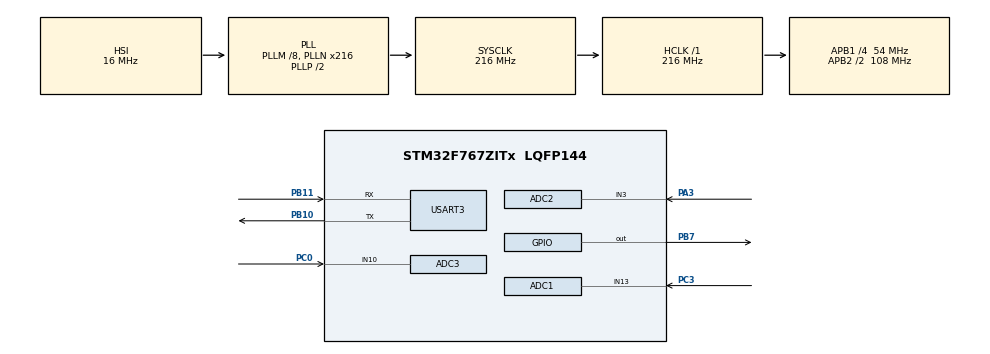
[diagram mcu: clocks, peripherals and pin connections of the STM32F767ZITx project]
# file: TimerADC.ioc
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ADC1.Channel-0\#ChannelRegularConversion=ADC_CHANNEL_13
ADC1.ContinuousConvMode=DISABLE
ADC1.NbrOfConversionFlag=1
ADC1.Rank-0\#ChannelRegularConversion=1
ADC1.SamplingTime-0\#ChannelRegularConversion=ADC_SAMPLETIME_3CYCLES
ADC1.master=1
ADC2.Channel-0\#ChannelRegularConversion=ADC_CHANNEL_3
ADC2.NbrOfConversionFlag=1
ADC2.Rank-0\#ChannelRegularConversion=1
ADC2.SamplingTime-0\#ChannelRegularConversion=ADC_SAMPLETIME_3CYCLES
ADC3.Channel-0\#ChannelRegularConversion=ADC_CHANNEL_10
ADC3.NbrOfConversionFlag=1
ADC3.Rank-0\#ChannelRegularConversion=1
ADC3.SamplingTime-0\#ChannelRegularConversion=ADC_SAMPLETIME_3CYCLES
Dma.ADC1.0.Direction=DMA_PERIPH_TO_MEMORY
Dma.ADC1.0.FIFOMode=DMA_FIFOMODE_DISABLE
Dma.ADC1.0.Instance=DMA2_Stream0
Dma.ADC1.0.MemDataAlignment=DMA_MDATAALIGN_HALFWORD
Dma.ADC1.0.MemInc=DMA_MINC_ENABLE
Dma.ADC1.0.Mode=DMA_CIRCULAR
Dma.ADC1.0.PeriphDataAlignment=DMA_PDATAALIGN_HALFWORD
Dma.ADC1.0.PeriphInc=DMA_PINC_DISABLE
Dma.ADC1.0.Priority=DMA_PRIORITY_LOW
Dma.ADC2.2.Direction=DMA_PERIPH_TO_MEMORY
Dma.ADC2.2.FIFOMode=DMA_FIFOMODE_DISABLE
Dma.ADC2.2.Instance=DMA2_Stream2
Dma.ADC2.2.MemDataAlignment=DMA_MDATAALIGN_HALFWORD
Dma.ADC2.2.MemInc=DMA_MINC_ENABLE
Dma.ADC2.2.Mode=DMA_CIRCULAR
Dma.ADC2.2.PeriphDataAlignment=DMA_PDATAALIGN_HALFWORD
Dma.ADC2.2.PeriphInc=DMA_PINC_DISABLE
Dma.ADC2.2.Priority=DMA_PRIORITY_LOW
Dma.ADC3.1.Direction=DMA_PERIPH_TO_MEMORY
Dma.ADC3.1.FIFOMode=DMA_FIFOMODE_DISABLE
Dma.ADC3.1.Instance=DMA2_Stream1
Dma.ADC3.1.MemDataAlignment=DMA_MDATAALIGN_HALFWORD
Dma.ADC3.1.MemInc=DMA_MINC_ENABLE
Dma.ADC3.1.Mode=DMA_CIRCULAR
Dma.ADC3.1.PeriphDataAlignment=DMA_PDATAALIGN_HALFWORD
Dma.ADC3.1.PeriphInc=DMA_PINC_DISABLE
Dma.ADC3.1.Priority=DMA_PRIORITY_LOW
Dma.Request0=ADC1
Dma.Request1=ADC3
Dma.Request2=ADC2
Mcu.Family=STM32F7
Mcu.Name=STM32F767ZITx
Mcu.Package=LQFP144
NVIC.DMA2_Stream0_IRQn=true\:0\:0\:false\:false\:true\:false\:true
NVIC.DMA2_Stream1_IRQn=true\:0\:0\:false\:false\:true\:false\:true
NVIC.DMA2_Stream2_IRQn=true\:0\:0\:false\:false\:true\:false\:true
NVIC.PriorityGroup=NVIC_PRIORITYGROUP_4
NVIC.TIM6_DAC_IRQn=true\:0\:0\:false\:false\:true\:true\:true
PA13.Mode=Serial_Wire
PA13.Signal=SYS_JTMS-SWDIO
PA14.Mode=Serial_Wire
PA14.Signal=SYS_JTCK-SWCLK
PA3.Signal=ADCx_IN3
PB10.Mode=Asynchronous
PB10.Signal=USART3_TX
PB11.Mode=Asynchronous
PB11.Signal=USART3_RX
PB7.Signal=GPIO_Output
PC0.Signal=ADCx_IN10
PC3.Signal=ADCx_IN13
ProjectManager.HeapSize=0x200
ProjectManager.StackSize=0x400
ProjectManager.TargetToolchain=STM32CubeIDE
RCC.AHBFreq_Value=216000000
RCC.APB1CLKDivider=RCC_HCLK_DIV4
RCC.APB1Freq_Value=54000000
RCC.APB1TimFreq_Value=108000000
RCC.APB2CLKDivider=RCC_HCLK_DIV2
RCC.APB2Freq_Value=108000000
RCC.APB2TimFreq_Value=216000000
RCC.CortexFreq_Value=216000000
RCC.HCLKFreq_Value=216000000
RCC.HSE_VALUE=25000000
RCC.HSI_VALUE=16000000
RCC.LSE_VALUE=32768
RCC.PLLM=8
RCC.PLLN=216
RCC.SYSCLKFreq_VALUE=216000000
RCC.SYSCLKSource=RCC_SYSCLKSOURCE_PLLCLK
RCC.USBFreq_Value=216000000
RCC.VCOOutputFreq_Value=432000000
SH.ADCx_IN10.0=ADC3_IN10,IN10
SH.ADCx_IN13.0=ADC1_IN13,IN13
SH.ADCx_IN3.0=ADC2_IN3,IN3
TIM4.Channel-Output\ Compare3\ No\ Output=TIM_CHANNEL_3
TIM4.Prescaler=2160
TIM6.Period=1079
USART3.VirtualMode-Asynchronous=VM_ASYNC
VP_TIM4_VS_ClockSourceINT.Mode=Internal
VP_TIM4_VS_no_output3.Mode=Output Compare3 No Output
VP_TIM6_VS_ClockSourceINT.Mode=Enable_Timer
board=custom

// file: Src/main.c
/* USER CODE BEGIN Header */
/**
  ******************************************************************************
  * @file           : main.c
  * @brief          : Main program body
  ******************************************************************************
  * @attention
  *
  * <h2><center>&copy; Copyright (c) 2020 STMicroelectronics.
  * All rights reserved.</center></h2>
  *
  * This software component is licensed by ST under BSD 3-Clause license,
  * the "License"; You may not use this file except in compliance with the
  * License. You may obtain a copy of the License at:
  *                        opensource.org/licenses/BSD-3-Clause
  *
  ******************************************************************************
  */
/* USER CODE END Header */

#include "main.h"

/* USER CODE BEGIN Includes */
#define ADC_BUFFER_LEN 32768
#define true 1
#define false 0
/* USER CODE END Includes */

ADC_HandleTypeDef hadc1;
ADC_HandleTypeDef hadc2;
ADC_HandleTypeDef hadc3;
DMA_HandleTypeDef hdma_adc1;
DMA_HandleTypeDef hdma_adc2;
DMA_HandleTypeDef hdma_adc3;

TIM_HandleTypeDef htim4;
TIM_HandleTypeDef htim6;

UART_HandleTypeDef huart3;

/* USER CODE BEGIN PV */
volatile uint16_t buffer[ADC_BUFFER_LEN]; // ADC 1 channel 13
volatile uint16_t buffer2[ADC_BUFFER_LEN]; // ADC 2 channel 3
volatile uint16_t buffer3[ADC_BUFFER_LEN]; // ADC 3 channel 10
uint16_t adc_value; // ignore
int HF = 0; // used for debugging
int TC = 0; // debugging

/* USER CODE END PV */

void SystemClock_Config(void);
static void MX_GPIO_Init(void);
static void MX_DMA_Init(void);
static void MX_ADC1_Init(void);
static void MX_TIM4_Init(void);
static void MX_USART3_UART_Init(void);
static void MX_TIM6_Init(void);
static void MX_ADC2_Init(void);
static void MX_ADC3_Init(void);

int main(void)
{

  /* MCU Configuration--------------------------------------------------------*/

  /* Reset of all peripherals, Initializes the Flash interface and the Systick. */
  HAL_Init();

  /* Configure the system clock */
  SystemClock_Config();

  /* Initialize all configured peripherals */
  MX_GPIO_Init();
  MX_DMA_Init();
  MX_ADC1_Init();
  MX_TIM4_Init();
  MX_USART3_UART_Init();
  MX_TIM6_Init();
  MX_ADC2_Init();
  MX_ADC3_Init();
  /* USER CODE BEGIN 2 */

  // HAL_ADC_Start_DMA(&hadc1, (uint32_t*)&buffer[0],  ADC_BUFFER_LEN);
HAL_ADC_Start_DMA(&hadc2, (uint32_t*)&buffer2[0],  ADC_BUFFER_LEN);
 //HAL_ADC_Start_DMA(&hadc3, (uint32_t*)&buffer3[0],  ADC_BUFFER_LEN);
  HAL_TIM_Base_Start_IT(&htim6);

  /* USER CODE END 2 */

  /* Infinite loop */
  /* USER CODE BEGIN WHILE */
  while (1)
  {
/*
	  while(HF){

	  }

	  while(TC){

		  		  }

		  		  */

    /* USER CODE END WHILE */

  }
}

void SystemClock_Config(void)
{
  RCC_OscInitTypeDef RCC_OscInitStruct = {0};
  RCC_ClkInitTypeDef RCC_ClkInitStruct = {0};
  RCC_PeriphCLKInitTypeDef PeriphClkInitStruct = {0};

  /** Configure the main internal regulator output voltage
  */
  __HAL_RCC_PWR_CLK_ENABLE();
  __HAL_PWR_VOLTAGESCALING_CONFIG(PWR_REGULATOR_VOLTAGE_SCALE1);
  /** Initializes the CPU, AHB and APB busses clocks
  */
  RCC_OscInitStruct.OscillatorType = RCC_OSCILLATORTYPE_HSI;
  RCC_OscInitStruct.HSIState = RCC_HSI_ON;
  RCC_OscInitStruct.HSICalibrationValue = RCC_HSICALIBRATION_DEFAULT;
  RCC_OscInitStruct.PLL.PLLState = RCC_PLL_ON;
  RCC_OscInitStruct.PLL.PLLSource = RCC_PLLSOURCE_HSI;
  RCC_OscInitStruct.PLL.PLLM = 8;
  RCC_OscInitStruct.PLL.PLLN = 216;
  RCC_OscInitStruct.PLL.PLLP = RCC_PLLP_DIV2;
  RCC_OscInitStruct.PLL.PLLQ = 2;
  if (HAL_RCC_OscConfig(&RCC_OscInitStruct) != HAL_OK)
  {
    Error_Handler();
  }
  /** Activate the Over-Drive mode
  */
  if (HAL_PWREx_EnableOverDrive() != HAL_OK)
  {
    Error_Handler();
  }
  /** Initializes the CPU, AHB and APB busses clocks
  */
  RCC_ClkInitStruct.ClockType = RCC_CLOCKTYPE_HCLK|RCC_CLOCKTYPE_SYSCLK
                              |RCC_CLOCKTYPE_PCLK1|RCC_CLOCKTYPE_PCLK2;
  RCC_ClkInitStruct.SYSCLKSource = RCC_SYSCLKSOURCE_PLLCLK;
  RCC_ClkInitStruct.AHBCLKDivider = RCC_SYSCLK_DIV1;
  RCC_ClkInitStruct.APB1CLKDivider = RCC_HCLK_DIV4;
  RCC_ClkInitStruct.APB2CLKDivider = RCC_HCLK_DIV2;

  if (HAL_RCC_ClockConfig(&RCC_ClkInitStruct, FLASH_LATENCY_7) != HAL_OK)
  {
    Error_Handler();
  }
  PeriphClkInitStruct.PeriphClockSelection = RCC_PERIPHCLK_USART3;
  PeriphClkInitStruct.Usart3ClockSelection = RCC_USART3CLKSOURCE_PCLK1;
  if (HAL_RCCEx_PeriphCLKConfig(&PeriphClkInitStruct) != HAL_OK)
  {
    Error_Handler();
  }
}

static void MX_ADC1_Init(void)
{

  ADC_ChannelConfTypeDef sConfig = {0};

  /** Configure the global features of the ADC (Clock, Resolution, Data Alignment and number of conversion)
  */
  hadc1.Instance = ADC1;
  hadc1.Init.ClockPrescaler = ADC_CLOCK_SYNC_PCLK_DIV4;
  hadc1.Init.Resolution = ADC_RESOLUTION_12B;
  hadc1.Init.ScanConvMode = ADC_SCAN_DISABLE;
  hadc1.Init.ContinuousConvMode = ENABLE;
  hadc1.Init.DiscontinuousConvMode = DISABLE;
  hadc1.Init.ExternalTrigConvEdge = ADC_EXTERNALTRIGCONVEDGE_NONE;
  hadc1.Init.ExternalTrigConv = ADC_SOFTWARE_START;
  hadc1.Init.DataAlign = ADC_DATAALIGN_RIGHT;
  hadc1.Init.NbrOfConversion = 1;
  hadc1.Init.DMAContinuousRequests = ENABLE;
  hadc1.Init.EOCSelection = ADC_EOC_SINGLE_CONV;
  if (HAL_ADC_Init(&hadc1) != HAL_OK)
  {
    Error_Handler();
  }
  /** Configure for the selected ADC regular channel its corresponding rank in the sequencer and its sample time.
  */
  sConfig.Channel = ADC_CHANNEL_13;
  sConfig.Rank = ADC_REGULAR_RANK_1;
  sConfig.SamplingTime = ADC_SAMPLETIME_3CYCLES;
  if (HAL_ADC_ConfigChannel(&hadc1, &sConfig) != HAL_OK)
  {
    Error_Handler();
  }

}

static void MX_ADC2_Init(void)
{

  ADC_ChannelConfTypeDef sConfig = {0};

  /** Configure the global features of the ADC (Clock, Resolution, Data Alignment and number of conversion)
  */
  hadc2.Instance = ADC2;
  hadc2.Init.ClockPrescaler = ADC_CLOCK_SYNC_PCLK_DIV4;
  hadc2.Init.Resolution = ADC_RESOLUTION_12B;
  hadc2.Init.ScanConvMode = ADC_SCAN_DISABLE;
  hadc2.Init.ContinuousConvMode = ENABLE;
  hadc2.Init.DiscontinuousConvMode = DISABLE;
  hadc2.Init.ExternalTrigConvEdge = ADC_EXTERNALTRIGCONVEDGE_NONE;
  hadc2.Init.ExternalTrigConv = ADC_SOFTWARE_START;
  hadc2.Init.DataAlign = ADC_DATAALIGN_RIGHT;
  hadc2.Init.NbrOfConversion = 1;
  hadc2.Init.DMAContinuousRequests = ENABLE;
  hadc2.Init.EOCSelection = ADC_EOC_SINGLE_CONV;
  if (HAL_ADC_Init(&hadc2) != HAL_OK)
  {
    Error_Handler();
  }
  /** Configure for the selected ADC regular channel its corresponding rank in the sequencer and its sample time.
  */
  sConfig.Channel = ADC_CHANNEL_3;
  sConfig.Rank = ADC_REGULAR_RANK_1;
  sConfig.SamplingTime = ADC_SAMPLETIME_3CYCLES;
  if (HAL_ADC_ConfigChannel(&hadc2, &sConfig) != HAL_OK)
  {
    Error_Handler();
  }

}

static void MX_ADC3_Init(void)
{

  ADC_ChannelConfTypeDef sConfig = {0};

  /** Configure the global features of the ADC (Clock, Resolution, Data Alignment and number of conversion)
  */
  hadc3.Instance = ADC3;
  hadc3.Init.ClockPrescaler = ADC_CLOCK_SYNC_PCLK_DIV4;
  hadc3.Init.Resolution = ADC_RESOLUTION_12B;
  hadc3.Init.ScanConvMode = ADC_SCAN_DISABLE;
  hadc3.Init.ContinuousConvMode = ENABLE;
  hadc3.Init.DiscontinuousConvMode = DISABLE;
  hadc3.Init.ExternalTrigConvEdge = ADC_EXTERNALTRIGCONVEDGE_NONE;
  hadc3.Init.ExternalTrigConv = ADC_SOFTWARE_START;
  hadc3.Init.DataAlign = ADC_DATAALIGN_RIGHT;
  hadc3.Init.NbrOfConversion = 1;
  hadc3.Init.DMAContinuousRequests = ENABLE;
  hadc3.Init.EOCSelection = ADC_EOC_SINGLE_CONV;
  if (HAL_ADC_Init(&hadc3) != HAL_OK)
  {
    Error_Handler();
  }
  /** Configure for the selected ADC regular channel its corresponding rank in the sequencer and its sample time.
  */
  sConfig.Channel = ADC_CHANNEL_10;
  sConfig.Rank = ADC_REGULAR_RANK_1;
  sConfig.SamplingTime = ADC_SAMPLETIME_3CYCLES;
  if (HAL_ADC_ConfigChannel(&hadc3, &sConfig) != HAL_OK)
  {
    Error_Handler();
  }

}

static void MX_TIM4_Init(void)
{

  TIM_ClockConfigTypeDef sClockSourceConfig = {0};
  TIM_MasterConfigTypeDef sMasterConfig = {0};
  TIM_OC_InitTypeDef sConfigOC = {0};

  htim4.Instance = TIM4;
  htim4.Init.Prescaler = 2160;
  htim4.Init.CounterMode = TIM_COUNTERMODE_UP;
  htim4.Init.Period = 0;
  htim4.Init.ClockDivision = TIM_CLOCKDIVISION_DIV1;
  htim4.Init.AutoReloadPreload = TIM_AUTORELOAD_PRELOAD_DISABLE;
  if (HAL_TIM_Base_Init(&htim4) != HAL_OK)
  {
    Error_Handler();
  }
  sClockSourceConfig.ClockSource = TIM_CLOCKSOURCE_INTERNAL;
  if (HAL_TIM_ConfigClockSource(&htim4, &sClockSourceConfig) != HAL_OK)
  {
    Error_Handler();
  }
  if (HAL_TIM_OC_Init(&htim4) != HAL_OK)
  {
    Error_Handler();
  }
  sMasterConfig.MasterOutputTrigger = TIM_TRGO_RESET;
  sMasterConfig.MasterSlaveMode = TIM_MASTERSLAVEMODE_DISABLE;
  if (HAL_TIMEx_MasterConfigSynchronization(&htim4, &sMasterConfig) != HAL_OK)
  {
    Error_Handler();
  }
  sConfigOC.OCMode = TIM_OCMODE_TIMING;
  sConfigOC.Pulse = 0;
  sConfigOC.OCPolarity = TIM_OCPOLARITY_HIGH;
  sConfigOC.OCFastMode = TIM_OCFAST_DISABLE;
  if (HAL_TIM_OC_ConfigChannel(&htim4, &sConfigOC, TIM_CHANNEL_3) != HAL_OK)
  {
    Error_Handler();
  }

}

static void MX_TIM6_Init(void)
{

  TIM_MasterConfigTypeDef sMasterConfig = {0};

  htim6.Instance = TIM6;
  htim6.Init.Prescaler = 0;
  htim6.Init.CounterMode = TIM_COUNTERMODE_UP;
  htim6.Init.Period = 1079;
  htim6.Init.AutoReloadPreload = TIM_AUTORELOAD_PRELOAD_DISABLE;
  if (HAL_TIM_Base_Init(&htim6) != HAL_OK)
  {
    Error_Handler();
  }
  sMasterConfig.MasterOutputTrigger = TIM_TRGO_RESET;
  sMasterConfig.MasterSlaveMode = TIM_MASTERSLAVEMODE_DISABLE;
  if (HAL_TIMEx_MasterConfigSynchronization(&htim6, &sMasterConfig) != HAL_OK)
  {
    Error_Handler();
  }

}

static void MX_USART3_UART_Init(void)
{

  huart3.Instance = USART3;
  huart3.Init.BaudRate = 115200;
  huart3.Init.WordLength = UART_WORDLENGTH_8B;
  huart3.Init.StopBits = UART_STOPBITS_1;
  huart3.Init.Parity = UART_PARITY_NONE;
  huart3.Init.Mode = UART_MODE_TX_RX;
  huart3.Init.HwFlowCtl = UART_HWCONTROL_NONE;
  huart3.Init.OverSampling = UART_OVERSAMPLING_16;
  huart3.Init.OneBitSampling = UART_ONE_BIT_SAMPLE_DISABLE;
  huart3.AdvancedInit.AdvFeatureInit = UART_ADVFEATURE_NO_INIT;
  if (HAL_UART_Init(&huart3) != HAL_OK)
  {
    Error_Handler();
  }

}

static void MX_DMA_Init(void)
{

  /* DMA controller clock enable */
  __HAL_RCC_DMA2_CLK_ENABLE();

  /* DMA interrupt init */
  /* DMA2_Stream0_IRQn interrupt configuration */
  HAL_NVIC_SetPriority(DMA2_Stream4_IRQn, 0, 0);
  HAL_NVIC_EnableIRQ(DMA2_Stream4_IRQn);
  /* DMA2_Stream1_IRQn interrupt configuration */
  HAL_NVIC_SetPriority(DMA2_Stream1_IRQn, 0, 0);
  HAL_NVIC_EnableIRQ(DMA2_Stream1_IRQn);
  /* DMA2_Stream2_IRQn interrupt configuration */
  HAL_NVIC_SetPriority(DMA2_Stream2_IRQn, 0, 0);
  HAL_NVIC_EnableIRQ(DMA2_Stream2_IRQn);

}

static void MX_GPIO_Init(void)
{
  GPIO_InitTypeDef GPIO_InitStruct = {0};

  /* GPIO Ports Clock Enable */
  __HAL_RCC_GPIOC_CLK_ENABLE();
  __HAL_RCC_GPIOA_CLK_ENABLE();
  __HAL_RCC_GPIOB_CLK_ENABLE();

  /*Configure GPIO pin Output Level */
  HAL_GPIO_WritePin(GPIOB, GPIO_PIN_7, GPIO_PIN_RESET);

  /*Configure GPIO pin : PB7 */
  GPIO_InitStruct.Pin = GPIO_PIN_7;
  GPIO_InitStruct.Mode = GPIO_MODE_OUTPUT_PP;
  GPIO_InitStruct.Pull = GPIO_NOPULL;
  GPIO_InitStruct.Speed = GPIO_SPEED_FREQ_LOW;
  HAL_GPIO_Init(GPIOB, &GPIO_InitStruct);

}

/* USER CODE BEGIN 4 */

void HAL_ADC_ConvHalfCpltCallback(ADC_HandleTypeDef* hadc1){
	HF = true;
 }
void HAL_ADC_ConvCpltCallback(ADC_HandleTypeDef* hadc1){
	TC = true;

 }

/* USER CODE END 4 */

void Error_Handler(void)
{
}

/************************ (C) COPYRIGHT STMicroelectronics *****END OF FILE****/
